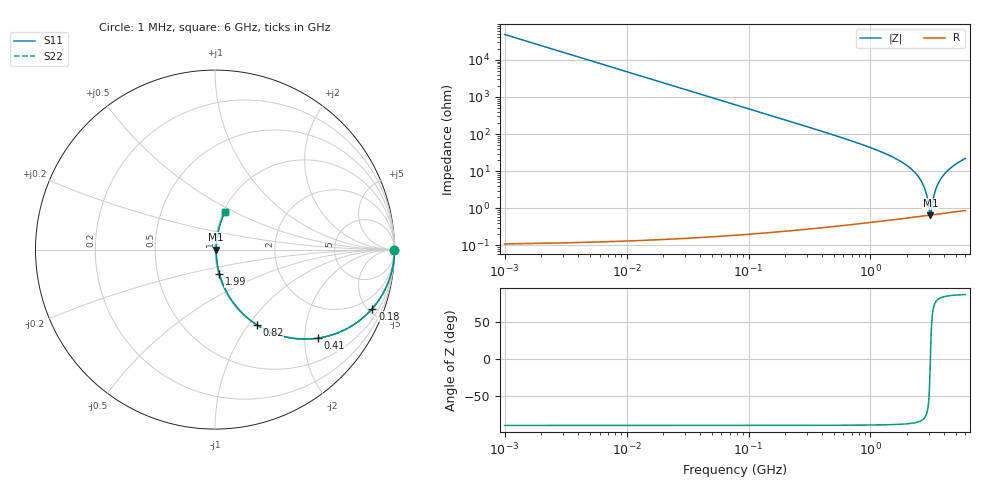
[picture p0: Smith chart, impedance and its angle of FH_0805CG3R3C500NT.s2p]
! FH 0805CG3R3C500NT 3.3 pF 0805 C0G (option: parallel with 22p for 25.3p C7)
! FH publishes no RF data: typical 0805 C0G model, ESL=0.8 nH, ESR=0.10+0.10*sqrt(f/100MHz) ohm
! Generated by make_s2p.py - an estimate, not a measurement
! Series-thru 2-port: part connected between port 1 and port 2.
# Hz S RI R 50
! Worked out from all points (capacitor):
!   1500 points, 1 MHz to 6 GHz, reference 50 ohm
!   read as one part in series: C = 3.3 pF near 8 MHz
!   lowest |Z| = 657 mohm at 3.1 GHz (marker M1)
!   series resonance near 3.098 GHz, so ESL is about 800 pH
!   S11 on the Smith chart (normalised r, x): 1 MHz: open; 180 MHz: 1.00, -5.34; 410 MHz: 1.01, -2.31; 820 MHz: 1.01, -1.09; 1.99 GHz: 1.01, -0.28; 6 GHz: 1.02, +0.44
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1000000  1 -0.00207  4.3e-06 0.00207  4.3e-06 0.00207  1 -0.00207
3000000  1 -0.00622  3.87e-05 0.00622  3.87e-05 0.00622  1 -0.00622
5000000  0.9999 -0.0104  0.000108 0.0104  0.000108 0.0104  0.9999 -0.0104
1.9e7  0.9984 -0.0393  0.00155 0.0393  0.00155 0.0393  0.9984 -0.0393
7.8e7  0.9744 -0.1577  0.0256 0.1577  0.0256 0.1577  0.9744 -0.1577
1.8e8  0.8768 -0.3282  0.1232 0.3282  0.1232 0.3282  0.8768 -0.3282
3.31e8  0.6745 -0.4676  0.3255 0.4676  0.3255 0.4676  0.6745 -0.4676
4.1e8  0.5717 -0.4935  0.4283 0.4935  0.4283 0.4935  0.5717 -0.4935
8.2e8  0.2319 -0.4185  0.7681 0.4185  0.7681 0.4185  0.2319 -0.4185
1.41e9  0.0723 -0.2504  0.9277 0.2504  0.9277 0.2504  0.0723 -0.2504
1.99e9  0.025 -0.138  0.975 0.138  0.975 0.138  0.025 -0.138
2.36e9  0.013 -0.0841  0.987 0.0841  0.987 0.0841  0.013 -0.0841
2.66e9  0.00834 -0.0469  0.9917 0.0469  0.9917 0.0469  0.00834 -0.0469
2.86e9  0.00691 -0.0245  0.9931 0.0245  0.9931 0.0245  0.00691 -0.0245
3.05e9  0.0065 -0.00476  0.9935 0.00476  0.9935 0.00476  0.0065 -0.00476
3.1e9  0.00652 0.000243  0.9935 -0.000243  0.9935 -0.000243  0.00652 0.000243
3.15e9  0.0066 0.00516  0.9934 -0.00516  0.9934 -0.00516  0.0066 0.00516
3.28e9  0.00699 0.0176  0.993 -0.0176  0.993 -0.0176  0.00699 0.0176
3.4e9  0.00761 0.0286  0.9924 -0.0286  0.9924 -0.0286  0.00761 0.0286
3.78e9  0.0109 0.0613  0.9891 -0.0613  0.9891 -0.0613  0.0109 0.0613
4.56e9  0.0224 0.1198  0.9776 -0.1198  0.9776 -0.1198  0.0224 0.1198
6e9  0.0542 0.2074  0.9458 -0.2074  0.9458 -0.2074  0.0542 0.2074
